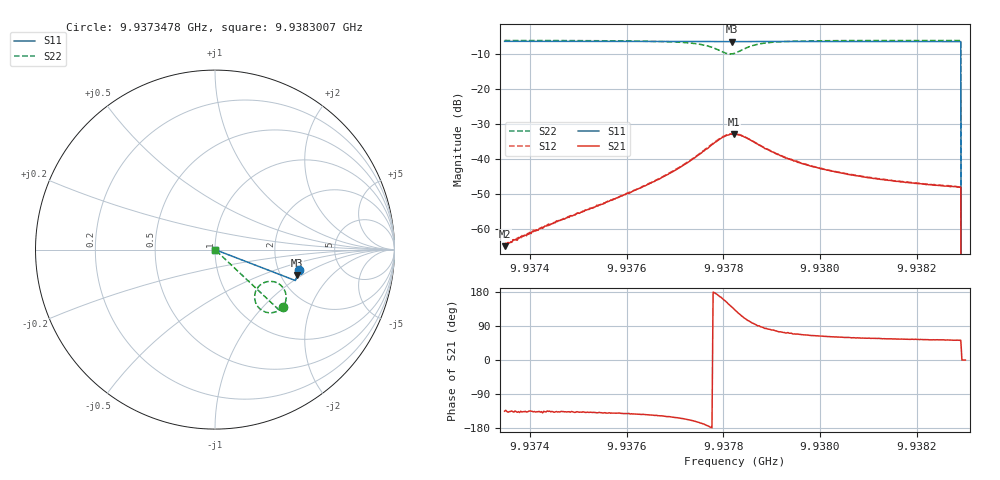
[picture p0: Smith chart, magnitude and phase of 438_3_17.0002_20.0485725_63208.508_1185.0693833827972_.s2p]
#  HZ  S  RI  R  50.00
! Rohde & Schwarz Vector Network Analyzer
! Rohde-Schwarz,ZNB20-2Port,1311601062101988,3.16
! Created: UTC 3/20/2024, 11:11:45 PM
! freq[Hz]  re:S11  im:S11  re:S21  im:S21  re:S12  im:S12  re:S22  im:S22
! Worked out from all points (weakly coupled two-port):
!   401 points, 9.9373478 GHz to 9.9383007 GHz, reference 50 ohm
!   highest |S21| = -32.86 dB at 9.9378219 GHz (marker M1); lowest = -65.0 dB at 9.9373478 GHz (marker M2)
!   lowest |S11| = -6.4 dB at 9.9378171 GHz (marker M3), VSWR 2.84, Z = 123 - j44.9 ohm
!   |S11| at or under -10 dB: 9.9382912 GHz to end of sweep
!   |S22| runs from - to -6.1 dB; largest |S21 - S12| = 0.001
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9.93734781e9  0.4703 -0.1116  -0.000397 -0.000397  -0.000411 -0.000406  0.3811 -0.3199
9.93736687e9  0.47 -0.1129  -0.000511 -0.000468  -0.000508 -0.000481  0.3795 -0.3213
9.93740737e9  0.4689 -0.1156  -0.000659 -0.000622  -0.000688 -0.000662  0.376 -0.3246
9.93743357e9  0.4686 -0.1175  -0.000801 -0.000741  -0.000795 -0.000759  0.3737 -0.3265
9.93750742e9  0.4669 -0.1224  -0.00128 -0.00116  -0.00131 -0.00116  0.3659 -0.3327
9.93761463e9  0.4644 -0.1297  -0.00277 -0.00214  -0.00283 -0.00211  0.3479 -0.3434
9.93766704e9  0.463 -0.1332  -0.00428 -0.00278  -0.00443 -0.00277  0.3319 -0.3491
9.9377123e9  0.4616 -0.1363  -0.00692 -0.00337  -0.00709 -0.00336  0.3086 -0.3523
9.93776233e9  0.4597 -0.1395  -0.0133 -0.00218  -0.0136 -0.00198  0.258 -0.336
9.93779568e9  0.4579 -0.1409  -0.0191 0.00501  -0.0194 0.00592  0.2208 -0.27
9.93781712e9  0.4575 -0.1411  -0.0174 0.0143  -0.0172 0.0151  0.248 -0.201
9.93782189e9  0.4577 -0.1412  -0.0161 0.0161  -0.0156 0.0169  0.2619 -0.19
9.93782427e9  0.4576 -0.1412  -0.015 0.0168  -0.0148 0.0175  0.2699 -0.1859
9.93784095e9  0.4577 -0.1418  -0.00846 0.0194  -0.00786 0.0198  0.3251 -0.1785
9.9378743e9  0.4583 -0.1443  -5.37e-05 0.0156  0.00056 0.0159  0.3844 -0.2203
9.93792909e9  0.4573 -0.1483  0.00331 0.00971  0.0035 0.00991  0.3961 -0.2729
9.93798388e9  0.4559 -0.1523  0.00334 0.00704  0.00351 0.00705  0.3905 -0.2977
9.93806012e9  0.4542 -0.1573  0.00303 0.00516  0.00319 0.00515  0.3817 -0.3157
9.9381435e9  0.4518 -0.1628  0.00276 0.00409  0.00286 0.00409  0.3737 -0.3272
9.93828644e9  0.4477 -0.1719  0.00241 0.00312  0.00249 0.0031  0.3623 -0.3406
9.93829835e9  0 0  0 0  0 0  0 0
9.93830073e9  0 0  0 0  0 0  0 0
